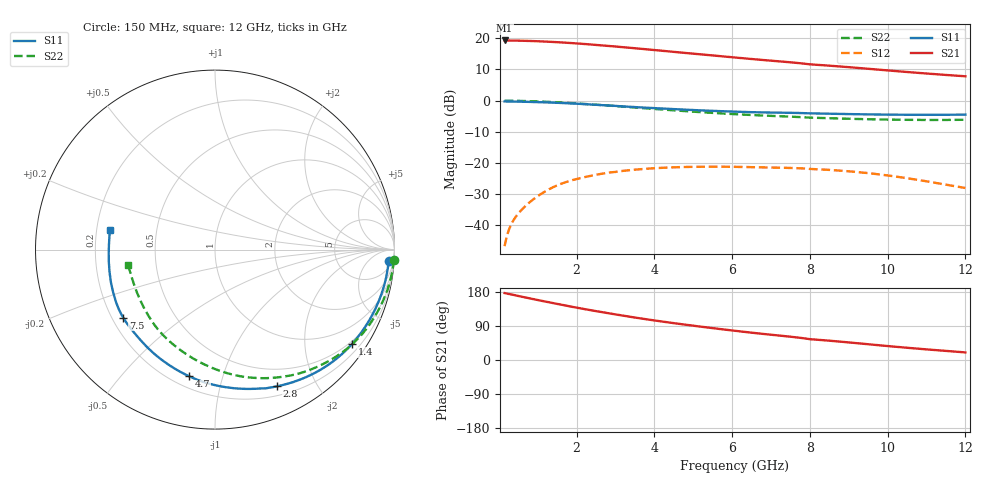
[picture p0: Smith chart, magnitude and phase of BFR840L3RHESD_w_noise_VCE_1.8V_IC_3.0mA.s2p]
! Infineon Technologies  Discrete & RF Semiconductors
! BFR840L3RHESD
! VCE =  1.8 V,  IC =  3.0 mA
! Common Emitter S-Parameters:  Jun 2012
# GHz  S  MA  R  50
!  f  S11  S21  S12  S22
! GHz  MAG  ANG  MAG  ANG  MAG  ANG  MAG  ANG
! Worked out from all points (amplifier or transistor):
!   91 points, 150 MHz to 12 GHz, reference 50 ohm
!   highest |S21| = 19.3 dB at 150 MHz (marker M1)
!   |S21| within 3 dB of that: start of sweep to 3.934 GHz
!   unconditionally stable (mu >= 1): 9.751 GHz to end of sweep
!   at 1.3 GHz: K = 0.08, MSG = 23.7 dB, |S12| = -28.4 dB
!   at 4.3 GHz: K = 0.23, MSG = 18.7 dB, |S12| = -21.5 dB
!   at 12 GHz: K = 2.28, MAG = 11.6 dB, |S12| = -28.1 dB
!   lowest NFmin = 0.41 dB at 450 MHz
!   S11 on the Smith chart (normalised r, x): 150 MHz: 11, -24; 1.4 GHz: 0.42, -3.17; 2.8 GHz: 0.30, -1.51; 4.7 GHz: 0.27, -0.78; 7.5 GHz: 0.24, -0.31; 12 GHz: 0.26, +0.08
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0.15  0.9696 -3.9  9.242 176.6  0.0046 90.9  0.9969 -3.3
0.25  0.968 -6.5  9.226 174.5  0.0081 86.6  0.9961 -5.6
0.35  0.9661 -9.0  9.206 172.4  0.0112 83.8  0.9943 -7.7
0.7  0.9563 -17.7  9.107 164.7  0.0207 75.6  0.9826 -15.0
1.1  0.9409 -27.3  8.923 156.2  0.0321 68.1  0.9637 -23.4
1.4  0.9272 -34.5  8.737 150.1  0.0408 63.6  0.9464 -29.5
1.8  0.9046 -43.9  8.444 142.1  0.0508 57.6  0.9175 -37.4
2.2  0.8775 -53.0  8.111 134.4  0.0589 51.1  0.8839 -45.1
2.8  0.8361 -65.7  7.561 123.8  0.0693 42.2  0.8342 -55.8
3  0.8226 -70.0  7.401 120.3  0.0716 38.8  0.817 -59.2
3.4  0.7936 -77.9  7.019 113.7  0.0768 33.5  0.7821 -66.0
4.2  0.7468 -92.8  6.313 101.5  0.0833 24.0  0.7199 -78.6
4.7  0.7204 -101.5  5.901 94.5  0.0856 18.5  0.6843 -85.9
5.5  0.6846 -114.7  5.31 84.1  0.0868 10.3  0.6347 -97.2
6.1  0.6639 -123.9  4.906 76.8  0.0863 5.0  0.6044 -105.3
6.8  0.6461 -133.9  4.484 68.8  0.0847 -0.6  0.5757 -114.4
7.5  0.6365 -143.5  4.121 61.5  0.0829 -5.7  0.5524 -123.2
8  0.6245 -151.9  3.822 55.0  0.08 -10.8  0.5328 -130.9
8.5  0.616 -157.0  3.64 51.0  0.0772 -14.2  0.5216 -135.7
9.5  0.6006 -168.1  3.244 41.6  0.0685 -21.7  0.5021 -146.5
10.5  0.5924 -178.2  2.879 32.3  0.0568 -27.7  0.4911 -156.9
12  0.5952 169.7  2.457 20.0  0.0395 -26.6  0.4921 -170.0
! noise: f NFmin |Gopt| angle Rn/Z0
0.45  0.41  0.69  8  0.22
0.9  0.45  0.67  12  0.22
1.9  0.5  0.62  28  0.21
3.5  0.53  0.64  46  0.19
4  0.56  0.64  54  0.18
5.5  0.62  0.65  72  0.16
7  0.71  0.6  92  0.14
8  0.79  0.58  101  0.13
10  0.93  0.51  122  0.1
12  1.11  0.43  154  0.07
